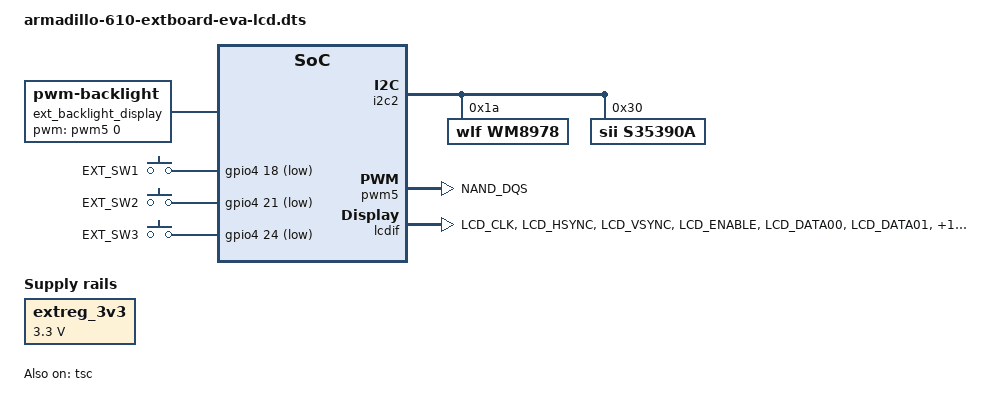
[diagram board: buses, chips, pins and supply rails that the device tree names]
/*
 * Copyright (C) 2020 Atmark Techno, Inc. All Rights Reserved.
 *
 * SPDX-License-Identifier: (GPL-2.0 OR MIT)
 */

#define ARMADILLO610_UNUSE_ONBOARD_USDHC2
#include "armadillo-610.dtsi"
#include "armadillo-610-extboard-eva-common.dtsi"
#include <dt-bindings/pwm/pwm.h>

/ {
	ext_backlight_display: ext-backlight-display {
		compatible = "pwm-backlight";
		pwms = <&pwm5 0 5000000 PWM_POLARITY_INVERTED>;
		brightness-levels = <0 4 8 16 32 64 128 255>;
		default-brightness-level = <7>;
		status = "okay";
	};

	extreg_3v3: ext-regulator-3v3 {
		compatible = "regulator-fixed";
		regulator-name = "3V3";
		regulator-min-microvolt = <3300000>;
		regulator-max-microvolt = <3300000>;
		regulator-always-on;
	};

	ext-sound {
		compatible = "simple-audio-card";
		simple-audio-card,name = "mx6ul-wm8978";
		simple-audio-card,format = "i2s";
		simple-audio-card,bitclock-master = <&dailink_master>;
		simple-audio-card,frame-master = <&dailink_master>;

		dailink_master: simple-audio-card,cpu {
			sound-dai = <&sai1>;
		};

		simple-audio-card,codec {
			sound-dai = <&wm8978>;
			clocks = <&clks IMX6UL_CLK_SAI1>;
		};
	};

	ext-gpio-keys {
		compatible = "gpio-keys";
		pinctrl-names = "default";
		pinctrl-0 = <&pinctrl_ext_gpio_keys>;

		ext_sw1 {
			label = "EXT_SW1";
			gpios = <&gpio4 18 GPIO_ACTIVE_LOW>;
			linux,code = <KEY_BACK>;
		};
		ext_sw2 {
			label = "EXT_SW2";
			gpios = <&gpio4 21 GPIO_ACTIVE_LOW>;
			linux,code = <KEY_MENU>;
		};
		ext_sw3 {
			label = "EXT_SW3";
			gpios = <&gpio4 24 GPIO_ACTIVE_LOW>;
			linux,code = <KEY_HOME>;
		};
	};
};

&iomuxc {
	pinctrl_pwm5: pwm5grp {
		fsl,pins = <
			MX6UL_PAD_NAND_DQS__PWM5_OUT 0x110b0
		>;
	};

	pinctrl_lcdif: lcdifgrp {
		fsl,pins = <
			MX6UL_PAD_LCD_CLK__LCDIF_CLK       0x08
			MX6UL_PAD_LCD_HSYNC__LCDIF_HSYNC   0x08
			MX6UL_PAD_LCD_VSYNC__LCDIF_VSYNC   0x08
			MX6UL_PAD_LCD_ENABLE__LCDIF_ENABLE 0x08

			MX6UL_PAD_LCD_DATA00__LCDIF_DATA00 0x08
			MX6UL_PAD_LCD_DATA01__LCDIF_DATA01 0x08
			MX6UL_PAD_LCD_DATA02__LCDIF_DATA02 0x08
			MX6UL_PAD_LCD_DATA03__LCDIF_DATA03 0x08
			MX6UL_PAD_LCD_DATA04__LCDIF_DATA04 0x08
			MX6UL_PAD_LCD_DATA05__LCDIF_DATA05 0x08
			MX6UL_PAD_LCD_DATA06__LCDIF_DATA06 0x08
			MX6UL_PAD_LCD_DATA07__LCDIF_DATA07 0x08
			MX6UL_PAD_LCD_DATA08__LCDIF_DATA08 0x08
			MX6UL_PAD_LCD_DATA09__LCDIF_DATA09 0x08
			MX6UL_PAD_LCD_DATA10__LCDIF_DATA10 0x08
			MX6UL_PAD_LCD_DATA11__LCDIF_DATA11 0x08
			MX6UL_PAD_LCD_DATA12__LCDIF_DATA12 0x08
			MX6UL_PAD_LCD_DATA13__LCDIF_DATA13 0x08
			MX6UL_PAD_LCD_DATA14__LCDIF_DATA14 0x08
			MX6UL_PAD_LCD_DATA15__LCDIF_DATA15 0x08
			MX6UL_PAD_LCD_DATA16__LCDIF_DATA16 0x08
			MX6UL_PAD_LCD_DATA17__LCDIF_DATA17 0x08
		>;
	};

	pinctrl_sai1: sai1grp {
		fsl,pins = <
			MX6UL_PAD_CSI_DATA01__SAI1_MCLK    0x17088
			MX6UL_PAD_CSI_DATA04__SAI1_TX_SYNC 0x17088
			MX6UL_PAD_CSI_DATA05__SAI1_TX_BCLK 0x17088
			MX6UL_PAD_CSI_DATA06__SAI1_RX_DATA 0x17088
			MX6UL_PAD_CSI_DATA07__SAI1_TX_DATA 0x120b0
		>;
	};

	pinctrl_ext_gpio_keys: extgpiokeysgrp {
		fsl,pins = <
			MX6UL_PAD_CSI_PIXCLK__GPIO4_IO18 0x1b080
			MX6UL_PAD_CSI_DATA00__GPIO4_IO21 0x1b080
			MX6UL_PAD_CSI_DATA03__GPIO4_IO24 0x1b080
		>;
	};

	pinctrl_rtc_s35390a: rtc-s35390agrp {
		fsl,pins = <
			MX6UL_PAD_CSI_DATA02__GPIO4_IO23 0x08000
		>;
	};

	pinctrl_tsc: tscgrp {
		fsl,pins = <
			MX6UL_PAD_GPIO1_IO01__GPIO1_IO01 0xb0
			MX6UL_PAD_GPIO1_IO02__GPIO1_IO02 0xb0
			MX6UL_PAD_GPIO1_IO03__GPIO1_IO03 0xb0
			MX6UL_PAD_GPIO1_IO04__GPIO1_IO04 0xb0
		>;
	};
};

&i2c2 {
	wm8978: wm8978@1a {
		#sound-dai-cells = <0>;
		compatible = "wlf,wm8978";
		reg = <0x1a>;
	};

	s35390a: s35390a@30 {
		pinctrl-names = "default";
		pinctrl-0 = <&pinctrl_rtc_s35390a>;
		compatible = "sii,s35390a";
		reg = <0x30>;
	};
};

&pwm5 {
	pinctrl-names = "default";
	pinctrl-0 = <&pinctrl_pwm5>;
	#pwm-cells = <3>;
	status = "okay";
};

&tsc {
	pinctrl-names = "default";
	pinctrl-0 = <&pinctrl_tsc>;
	xnur-gpio = <&gpio1 3 GPIO_ACTIVE_LOW>;
	status = "okay";
};

&lcdif {
	pinctrl-names = "default";
	pinctrl-0 = <&pinctrl_lcdif>;
	display = <&display0>;
	lcd-supply = <&extreg_3v3>;
	status = "okay";
	display0: display0 {
		bits-per-pixel = <32>;
		bus-width = <18>;
		display-timings {
			timing0: timing {
				clock-frequency = <9000000>;
				hactive = <480>;
				vactive = <272>;
				hfront-porch = <5>;
				hback-porch = <35>;
				hsync-len = <5>;
				vback-porch = <6>;
				vfront-porch = <8>;
				vsync-len = <2>;
				hsync-active = <0>;
				vsync-active = <0>;
				de-active = <1>;
				pixelclk-active = <0>;
			};
		};
	};
};
